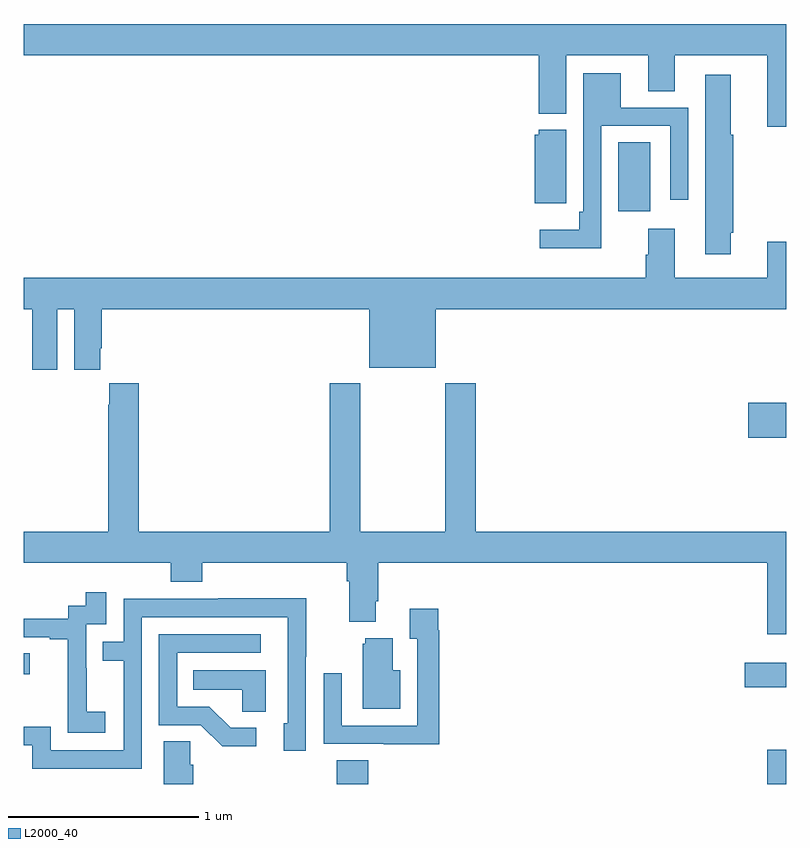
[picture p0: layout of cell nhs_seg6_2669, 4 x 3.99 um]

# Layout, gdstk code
import gdstk
lib = gdstk.Library(unit=1e-6, precision=1e-09)
def R(c, l, rs):  # rectangles x0, y0, x1, y1
    for r in rs: c.add(gdstk.rectangle(r[:2], r[2:], *l))
def P(c, l, *ps):  # polygons
    for p in ps: c.add(gdstk.Polygon(p, *l))
L2000_40 = (2000, 40)

nhs_seg6_2669 = lib.new_cell('nhs_seg6_2669')
R(nhs_seg6_2669, L2000_40, [(270.641,955.5,270.806,955.625), (272.9,955.5,273,955.681), (272.784,956.008,273,956.137), (269,956.075,269.032,956.185), (272.802,957.317,273,957.5), (272.12,958.506,272.287,958.868)])
P(nhs_seg6_2669, L2000_40, [(273,959.488),(269,959.488),(269,959.324),(271.703,959.324),(271.703,959.018),(271.846,959.018),(271.846,959.324),(272.276,959.324),(272.276,959.134),(272.416,959.134),(272.416,959.324),(272.9,959.324),(272.9,958.95),(273,958.95)],
  [(272.031,958.953),(272.391,958.953),(272.391,958.566),(272.487,958.566),(272.487,959.049),(272.131,959.049),(272.131,959.23),(271.935,959.23),(271.935,958.504),(271.915,958.504),(271.915,958.408),(271.707,958.408),(271.707,958.31),(272.031,958.31)],
  [(272.71,958.393),(272.723,958.393),(272.723,958.908),(272.71,958.908),(272.71,959.221),(272.576,959.221),(272.576,958.281),(272.71,958.281)],
  [(271.846,958.933),(271.701,958.933),(271.701,958.908),(271.682,958.908),(271.682,958.547),(271.846,958.547)],
  [(269.176,957.992),(269.264,957.992),(269.264,957.675),(269.401,957.675),(269.401,957.787),(269.408,957.787),(269.408,957.992),(270.812,957.992),(270.812,957.683),(271.162,957.683),(271.162,957.992),(273,957.992),(273,958.345),(272.9,958.345),(272.9,958.156),(272.416,958.156),(272.416,958.414),(272.276,958.414),(272.276,958.277),(272.264,958.277),(272.264,958.156),(269,958.156),(269,957.992),(269.045,957.992),(269.045,957.675),(269.176,957.675)],
  [(273,956.824),(271.37,956.824),(271.37,957.604),(271.21,957.604),(271.21,956.824),(270.765,956.824),(270.765,957.604),(270.605,957.604),(270.605,956.824),(269.603,956.824),(269.603,957.604),(269.447,957.604),(269.447,957.491),(269.443,957.491),(269.443,956.824),(269,956.824),(269,956.66),(269.771,956.66),(269.771,956.561),(269.936,956.561),(269.936,956.66),(270.695,956.66),(270.695,956.564),(270.707,956.564),(270.707,956.351),(270.847,956.351),(270.847,956.458),(270.86,956.458),(270.86,956.66),(272.9,956.66),(272.9,956.286),(273,956.286)],
  [(269.428,955.879),(269.33,955.879),(269.33,956.108),(269.328,956.108),(269.328,956.337),(269.433,956.337),(269.433,956.506),(269.325,956.506),(269.325,956.436),(269.232,956.436),(269.232,956.367),(269,956.367),(269,956.271),(269.135,956.271),(269.135,956.259),(269.231,956.259),(269.231,955.975),(269.23,955.975),(269.23,955.769),(269.428,955.769)],
  [(269.619,956.376),(270.384,956.376),(270.384,955.818),(270.365,955.818),(270.365,955.674),(270.48,955.674),(270.48,956.167),(270.483,956.167),(270.483,956.474),(270.019,956.474),(270.019,956.472),(269.523,956.472),(269.523,956.247),(269.413,956.247),(269.413,956.146),(269.523,956.146),(269.523,955.677),(269.142,955.677),(269.142,955.8),(269,955.8),(269,955.704),(269.045,955.704),(269.045,955.581),(269.619,955.581)],
  [(271.181,956.306),(271.174,956.306),(271.174,956.419),(271.025,956.419),(271.025,956.263),(271.065,956.263),(271.065,955.806),(270.669,955.806),(270.669,956.08),(270.573,956.08),(270.573,955.71),(270.889,955.71),(270.889,955.709),(271.181,955.709)],
  [(270.22,955.794),(270.085,955.794),(269.974,955.905),(269.805,955.905),(269.805,956.19),(270.244,956.19),(270.244,956.286),(269.709,956.286),(269.709,955.809),(269.928,955.809),(270.041,955.697),(270.22,955.697)],
  [(270.976,956.098),(270.937,956.098),(270.937,956.266),(270.791,956.266),(270.791,956.235),(270.779,956.235),(270.779,955.895),(270.976,955.895)],
  [(270.268,956.098),(269.89,956.098),(269.89,955.994),(270.147,955.994),(270.147,955.879),(270.268,955.879)],
  [(269.888,955.601),(269.874,955.601),(269.874,955.724),(269.735,955.724),(269.735,955.5),(269.888,955.5)])

lib.write_gds('nhs_seg6_2669.gds')
